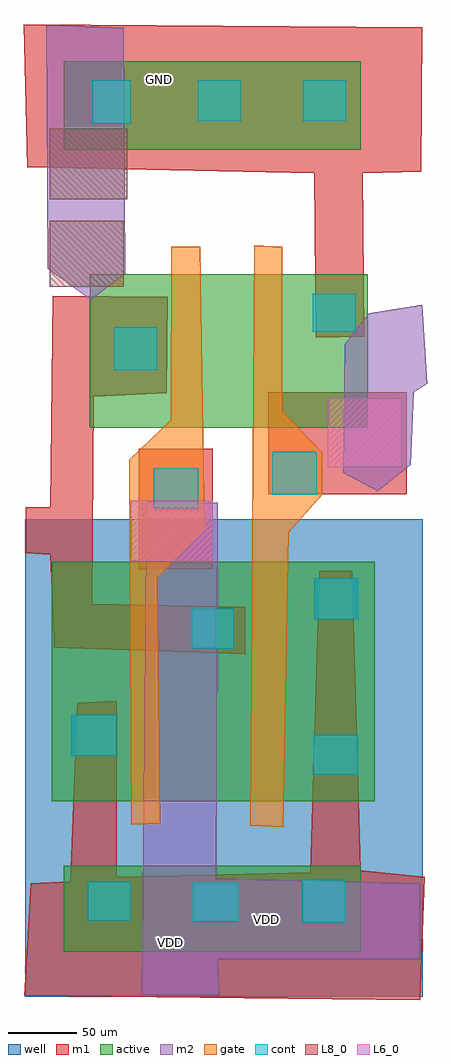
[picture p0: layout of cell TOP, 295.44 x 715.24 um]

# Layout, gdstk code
import gdstk
lib = gdstk.Library(unit=1e-6, precision=1e-09)
def R(c, l, rs):  # rectangles x0, y0, x1, y1
    for r in rs: c.add(gdstk.rectangle(r[:2], r[2:], *l))
def P(c, l, *ps):  # polygons
    for p in ps: c.add(gdstk.Polygon(p, *l))
well = (1, 0)
active = (2, 0)
gate = (3, 0)
cont = (4, 0)
m1 = (5, 0)
L6_0 = (6, 0)
m2 = (7, 0)
L8_0 = (8, 0)

top = lib.new_cell('TOP')
R(top, well, [(-499.122,-335.658,-207.895,14.36)])
R(top, active, [(-471.052,-302.631,-253.508,-239.473), (-479.824,-192.105,-242.982,-16.667), (-451.754,81.579,-248.245,193.859), (-471.052,285.087,-253.508,350)])
P(top, gate, [(-421.647,-209.595),(-423.137,58.055),(-392.746,86.887),(-392.195,214.284),(-370.845,214.284),(-367.682,7.116),(-402.474,-28.466),(-400.102,-208.749)],
  [(-309.96,-211.121),(-334.472,-210.33),(-331.31,215.074),(-310.751,214.284),(-310.751,94.095),(-281.495,63.257),(-281.495,32.419),(-306.007,4.744)])
R(top, cont, [(-296.33,-281.321,-264.773,-249.764), (-376.377,-280.551,-343.281,-252.073), (-453.346,-279.782,-421.789,-251.303), (-287.863,-172.795,-255.536,-143.547), (-465.661,-158.941,-432.565,-128.923), (-377.147,-80.432,-346.36,-51.184), (-287.398,-58.865,-255.29,-28.645), (-405.128,22.35,-372.39,51.939), (-318.247,32.423,-285.51,63.901), (-434.21,123.684,-402.631,155.263), (-288.596,151.754,-257.017,179.824), (-450,304.386,-421.929,335.965), (-372.807,306.14,-341.228,335.965), (-295.614,306.14,-264.035,335.965)])
R(top, m1, [(-415.977,-22.225,-361.896,65.934), (-321.151,32.597,-219.657,107.421)])
P(top, m1, [(-209.67,-337.891),(-499.982,-334.666),(-495.144,-252.41),(-466.113,-250.798),(-461.274,-120.157),(-432.243,-118.544),(-432.243,-247.572),(-290.312,-244.346),(-283.861,-23.386),(-259.668,-23.386),(-253.217,-242.733),(-206.444,-247.572)],
  [(-286.174,147.519),(-287.44,267.813),(-497.639,272.245),(-500.171,377.344),(-208.299,374.812),(-208.932,269.079),(-251.985,267.813),(-250.719,148.152)],
  [(-338.126,-84.387),(-478,-79.763),(-480.89,-11.56),(-498.808,-10.404),(-498.808,23.698),(-480.89,23.12),(-479.156,178.022),(-394.769,177.444),(-395.347,106.929),(-449.101,104.039),(-450.257,-47.395),(-338.126,-49.707)])
R(top, L6_0, [(-421.904,-16.298,-361.896,28.152), (-277.441,52.599,-223.361,102.976)])
P(top, m2, [(-413.692,-334.577),(-410.068,27.781),(-358.13,26.573),(-358.13,24.157),(-359.338,-248.819),(-209.563,-252.442),(-209.563,-308.004),(-358.13,-308.004),(-356.922,-334.577)],
  [(-240.968,35.028),(-266.333,48.314),(-265.125,142.527),(-247.007,165.477),(-208.356,171.516),(-204.732,113.539),(-214.395,107.499),(-216.811,54.354)],
  [(-451.135,175.139),(-482.539,198.089),(-483.747,376.852),(-426.978,374.436),(-425.77,194.465)])
R(top, L8_0, [(-481.332,184.802,-426.978,233.117), (-481.332,248.819,-424.562,300.757)])
top.add(gdstk.Label('VDD', (-322.603,-279.033), layer=9, texttype=0))
top.add(gdstk.Label('GND', (-400.71,336.37), layer=5, texttype=1))
top.add(gdstk.Label('VDD', (-392.808,-295.735), layer=5, texttype=1))

lib.write_gds('TOP.gds')
